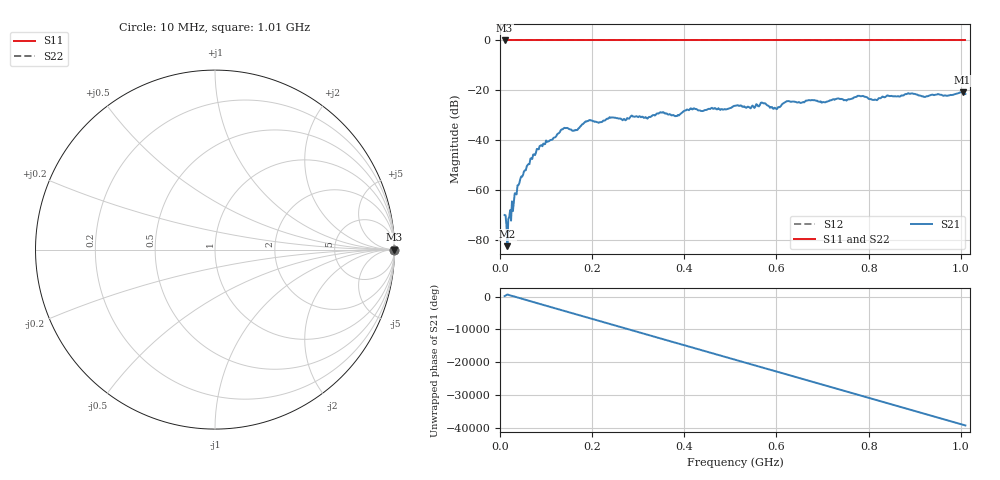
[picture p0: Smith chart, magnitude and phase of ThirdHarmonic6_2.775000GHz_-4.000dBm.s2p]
! 8/17/2025 7:04:53 AM
! C:\ANRITSUVNA\TEMP\TEMP.S2P
! CHANNEL.1
! TR.MEASUREMENT
! RAW.DATA
! RF.CORRECTION.OFF
! AVERAGING.OFF
! IF.BANDWIDTH: 5KHZ
! SWEEPTYPE:  FREQ.SWEEP(Linear)
! Reference Plane Port Info
! PORT:  PORT1  PORT2
! DISTANCE:  0  m  0  m
! TIME:  0  s  0  s
! PHASE.OFFSET:  0  deg.  0  deg.
! LOSS:  0  dB  0  dB
! REF.LOSS:  0  dB  0  dB
! REF.FREQ:  0  Hz  0  Hz
! Power Info
! POWER:  -20  dBm  -20  dBm
! EFF.POWER:  -20  dBm  -20  dBm
! SOURCE.ATTEN:  0  dB  0  dB
! TEST.ATTEN:  0  dB  0  dB
# GHZ S RI R 50.0
! FREQ.GHZ  S11RE  S11IM  S21RE  S21IM  S12RE  S12IM  S22RE  S22IM
!; PortSelection: Port_12
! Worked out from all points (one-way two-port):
!   501 points, 10 MHz to 1.01 GHz, reference 50 ohm
!   highest |S21| = -20.71 dB at 1.004 GHz (marker M1); lowest = -82.3 dB at 16 MHz (marker M2)
!   lowest |S11| = 0.0 dB at 10 MHz (marker M3)
!   |S11| at or under -10 dB: nowhere
!   |S22| runs from 0.0 to 0.0 dB; largest |S21 - S12| = 1.1
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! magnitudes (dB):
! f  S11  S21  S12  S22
! 10 MHz  0.0  -69.9  0.0  0.0
! 16 MHz  0.0  -82.3  0.0  0.0
! 20 MHz  0.0  -70.6  0.0  0.0
! 22 MHz  0.0  -67.9  0.0  0.0
! 42 MHz  0.0  -57.1  0.0  0.0
! 84 MHz  0.0  -43.6  0.0  0.0
! 136 MHz  0.0  -35.6  0.0  0.0
! 164 MHz  0.0  -35.8  0.0  0.0
! 178 MHz  0.0  -33.6  0.0  0.0
! 344 MHz  0.0  -29.3  0.0  0.0
! 384 MHz  0.0  -30.3  0.0  0.0
! 416 MHz  0.0  -27.5  0.0  0.0
! 510 MHz  0.0  -26.2  0.0  0.0
! 570 MHz  0.0  -25.0  0.0  0.0
! 598 MHz  0.0  -27.1  0.0  0.0
! 624 MHz  0.0  -24.3  0.0  0.0
! 678 MHz  0.0  -23.8  0.0  0.0
! 780 MHz  0.0  -22.2  0.0  0.0
! 814 MHz  0.0  -23.6  0.0  0.0
! 844 MHz  0.0  -22.2  0.0  0.0
! 1.004 GHz  0.0  -20.7  0.0  0.0
! 1.01 GHz  0.0  -21.4  0.0  0.0
